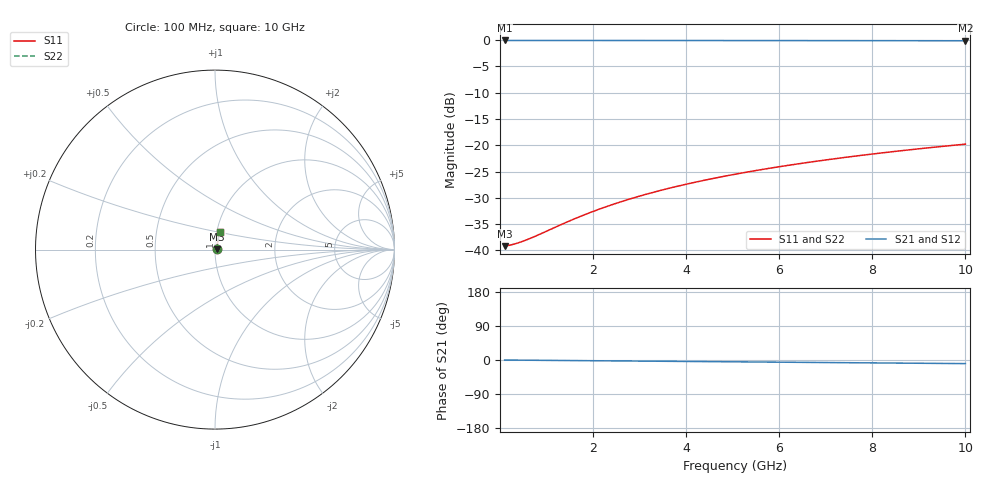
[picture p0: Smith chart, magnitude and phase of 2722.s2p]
# Hz S RI R 50.00
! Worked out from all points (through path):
!   100 points, 100 MHz to 10 GHz, reference 50 ohm
!   highest |S21| = -0.10 dB at 100 MHz (marker M1); lowest = -0.2 dB at 10 GHz (marker M2)
!   group delay of S21, straight-line fit = 2.65 ps
!   lowest |S11| = -39.2 dB at 100 MHz (marker M3), VSWR 1.02, Z = 51.1 + j0.103 ohm
!   |S11| at or under -10 dB: start of sweep to end of sweep
!   |S22| runs from -39.2 to -19.8 dB; largest |S21 - S12| = 0
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1e8  0.0109 0.00101  0.9891 -0.00165  0.9891 -0.00165  0.0109 0.00101
2e8  0.011 0.00201  0.989 -0.0033  0.989 -0.0033  0.011 0.00201
3e8  0.0111 0.00302  0.9889 -0.00495  0.9889 -0.00495  0.0111 0.00302
4e8  0.0111 0.00403  0.9889 -0.0066  0.9889 -0.0066  0.0111 0.00403
6e8  0.0112 0.00604  0.9888 -0.0099  0.9888 -0.0099  0.0112 0.00604
8e8  0.0113 0.00805  0.9887 -0.0132  0.9887 -0.0132  0.0113 0.00805
1.4e9  0.0117 0.0141  0.9883 -0.0231  0.9883 -0.0231  0.0117 0.0141
1.8e9  0.0119 0.0181  0.988 -0.0297  0.988 -0.0297  0.0119 0.0181
2.2e9  0.0123 0.0221  0.9876 -0.0363  0.9876 -0.0363  0.0123 0.0221
2.6e9  0.0126 0.0261  0.9872 -0.0428  0.9872 -0.0428  0.0126 0.0261
3e9  0.0131 0.0301  0.9867 -0.0494  0.9867 -0.0494  0.0131 0.0301
3.4e9  0.0135 0.0341  0.9862 -0.056  0.9862 -0.056  0.0135 0.0341
3.8e9  0.014 0.0381  0.9856 -0.0625  0.9856 -0.0625  0.014 0.0381
4.2e9  0.0146 0.0421  0.985 -0.0691  0.985 -0.0691  0.0146 0.0421
4.6e9  0.0152 0.046  0.9843 -0.0756  0.9843 -0.0756  0.0152 0.046
5.1e9  0.0161 0.051  0.9833 -0.0838  0.9833 -0.0838  0.0161 0.051
5.9e9  0.0176 0.0588  0.9816 -0.0968  0.9816 -0.0968  0.0176 0.0588
6.7e9  0.0193 0.0667  0.9797 -0.1098  0.9797 -0.1098  0.0193 0.0667
7.5e9  0.0213 0.0744  0.9775 -0.1227  0.9775 -0.1227  0.0213 0.0744
8.4e9  0.0237 0.0831  0.9748 -0.1372  0.9748 -0.1372  0.0237 0.0831
9.2e9  0.0261 0.0907  0.9721 -0.1499  0.9721 -0.1499  0.0261 0.0907
1e10  0.0286 0.0982  0.9692 -0.1626  0.9692 -0.1626  0.0286 0.0982
